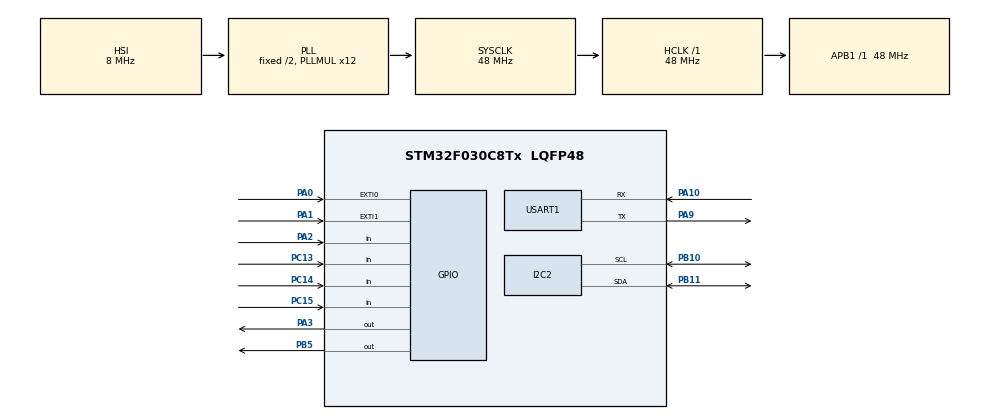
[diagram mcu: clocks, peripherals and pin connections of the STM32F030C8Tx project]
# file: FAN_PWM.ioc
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Dma.Request0=USART1_RX
Dma.Request1=USART1_TX
Dma.USART1_RX.0.Direction=DMA_PERIPH_TO_MEMORY
Dma.USART1_RX.0.Instance=DMA1_Channel3
Dma.USART1_RX.0.MemDataAlignment=DMA_MDATAALIGN_BYTE
Dma.USART1_RX.0.MemInc=DMA_MINC_ENABLE
Dma.USART1_RX.0.Mode=DMA_NORMAL
Dma.USART1_RX.0.PeriphDataAlignment=DMA_PDATAALIGN_BYTE
Dma.USART1_RX.0.PeriphInc=DMA_PINC_DISABLE
Dma.USART1_RX.0.Priority=DMA_PRIORITY_LOW
Dma.USART1_TX.1.Direction=DMA_MEMORY_TO_PERIPH
Dma.USART1_TX.1.Instance=DMA1_Channel2
Dma.USART1_TX.1.MemDataAlignment=DMA_MDATAALIGN_BYTE
Dma.USART1_TX.1.MemInc=DMA_MINC_ENABLE
Dma.USART1_TX.1.Mode=DMA_NORMAL
Dma.USART1_TX.1.PeriphDataAlignment=DMA_PDATAALIGN_BYTE
Dma.USART1_TX.1.PeriphInc=DMA_PINC_DISABLE
Dma.USART1_TX.1.Priority=DMA_PRIORITY_LOW
I2C2.Timing=0x20303E5D
Mcu.Family=STM32F0
Mcu.Name=STM32F030C8Tx
Mcu.Package=LQFP48
NVIC.DMA1_Channel2_3_IRQn=true\:0\:0\:false\:false\:true\:false\:true\:true
NVIC.EXTI0_1_IRQn=true\:0\:0\:false\:false\:true\:true\:true\:true
NVIC.TIM14_IRQn=true\:0\:0\:false\:false\:true\:true\:true\:true
NVIC.TIM6_IRQn=true\:0\:0\:false\:false\:true\:true\:true\:true
NVIC.USART1_IRQn=true\:0\:0\:false\:false\:true\:true\:true\:true
PA0.GPIO_ModeDefaultEXTI=GPIO_MODE_IT_FALLING
PA0.Signal=GPXTI0
PA1.GPIO_ModeDefaultEXTI=GPIO_MODE_IT_FALLING
PA1.Signal=GPXTI1
PA10.Mode=Asynchronous
PA10.Signal=USART1_RX
PA13.Mode=Serial_Wire
PA13.Signal=SYS_SWDIO
PA14.Mode=Serial_Wire
PA14.Signal=SYS_SWCLK
PA2.GPIO_PuPd=GPIO_PULLUP
PA2.Signal=GPIO_Input
PA3.GPIO_ModeDefaultOutputPP=GPIO_MODE_OUTPUT_PP
PA3.GPIO_PuPd=GPIO_NOPULL
PA3.GPIO_Speed=GPIO_SPEED_FREQ_HIGH
PA3.Signal=GPIO_Output
PA9.Mode=Asynchronous
PA9.Signal=USART1_TX
PB10.Mode=I2C
PB10.Signal=I2C2_SCL
PB11.Mode=I2C
PB11.Signal=I2C2_SDA
PB5.GPIO_ModeDefaultOutputPP=GPIO_MODE_OUTPUT_PP
PB5.GPIO_PuPd=GPIO_NOPULL
PB5.GPIO_Speed=GPIO_SPEED_FREQ_HIGH
PB5.Signal=GPIO_Output
PC13.GPIO_PuPd=GPIO_PULLUP
PC13.Signal=GPIO_Input
PC14-OSC32_IN.GPIO_PuPd=GPIO_PULLUP
PC14-OSC32_IN.Signal=GPIO_Input
PC15-OSC32_OUT.GPIO_PuPd=GPIO_PULLUP
PC15-OSC32_OUT.Signal=GPIO_Input
ProjectManager.HeapSize=0x200
ProjectManager.StackSize=0x400
ProjectManager.TargetToolchain=MDK-ARM V5.32
RCC.AHBFreq_Value=48000000
RCC.APB1Freq_Value=48000000
RCC.APB1TimFreq_Value=48000000
RCC.HCLKFreq_Value=48000000
RCC.PLLMUL=RCC_PLL_MUL12
RCC.SYSCLKFreq_VALUE=48000000
RCC.SYSCLKSource=RCC_SYSCLKSOURCE_PLLCLK
TIM14.AutoReloadPreload=TIM_AUTORELOAD_PRELOAD_ENABLE
TIM14.Period=1000
TIM14.Prescaler=48
TIM6.AutoReloadPreload=TIM_AUTORELOAD_PRELOAD_ENABLE
TIM6.Period=10
TIM6.Prescaler=48
USART1.VirtualMode-Asynchronous=VM_ASYNC
VP_TIM14_VS_ClockSourceINT.Mode=Enable_Timer
VP_TIM6_VS_ClockSourceINT.Mode=Enable_Timer
board=custom

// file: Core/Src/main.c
/* USER CODE BEGIN Header */
/**
  ******************************************************************************
  * @file           : main.c
  * @brief          : Main program body
  ******************************************************************************
  * @attention
  *
  * Copyright (c) 2023 STMicroelectronics.
  * All rights reserved.
  *
  * This software is licensed under terms that can be found in the LICENSE file
  * in the root directory of this software component.
  * If no LICENSE file comes with this software, it is provided AS-IS.
  *
  ******************************************************************************
  */
/* USER CODE END Header */
#include "main.h"

/* USER CODE BEGIN Includes */
#include "CH455.h"
#include "printf.h"
/* USER CODE END Includes */

I2C_HandleTypeDef hi2c2;

TIM_HandleTypeDef htim6;
TIM_HandleTypeDef htim14;

UART_HandleTypeDef huart1;
DMA_HandleTypeDef hdma_usart1_rx;
DMA_HandleTypeDef hdma_usart1_tx;

/* USER CODE BEGIN PV */
__IO uint16_t RPM5V, RPM12V, RPM5V_tmp, RPM12V_tmp;
__IO uint16_t PWM_12V_value = (PWM_MAX / 2);
__IO uint16_t PWM_5V_value = (PWM_MAX / 2);
__IO uint16_t PWM_counter = 0;
__IO uint16_t TMR14_counter;
__IO uint16_t RPM5V_cnt,RPM12V_cnt;
__IO uint8_t showPWM_delay, showPWM_flag, FAN_select = 0;
uint8_t show_state = 0;
/* USER CODE END PV */

void SystemClock_Config(void);
static void MX_GPIO_Init(void);
static void MX_DMA_Init(void);
static void MX_I2C2_Init(void);
static void MX_USART1_UART_Init(void);
static void MX_TIM14_Init(void);
static void MX_TIM6_Init(void);

int main(void)
{

  /* MCU Configuration--------------------------------------------------------*/

  /* Reset of all peripherals, Initializes the Flash interface and the Systick. */
  HAL_Init();

  /* Configure the system clock */
  SystemClock_Config();

  /* Initialize all configured peripherals */
  MX_GPIO_Init();
  MX_DMA_Init();
  MX_I2C2_Init();
  MX_USART1_UART_Init();
  MX_TIM14_Init();
  MX_TIM6_Init();
  /* USER CODE BEGIN 2 */
  HAL_Delay(1000);
  CH455_init();
  PWM_12V_CLR;
  PWM_12V_CLR;

  /* USER CODE END 2 */

  /* Infinite loop */
  /* USER CODE BEGIN WHILE */
  while (1)
  {
    if (RPM5V_tmp == 0)
    {
      RPM5V = 0;
    }
    else
    {
      RPM5V = 30000 / RPM5V_tmp;
    }
    if (RPM12V_tmp == 0)
    {
      RPM12V = 0;
    }
    else
    {
      RPM12V = 30000 / RPM12V_tmp;
    }

    if ((TMR14_counter % 100) == 0)
    {
      if (showPWM_flag)
      {
        showPWM_delay++;
      }

      switch (show_state)
      {
      case 0:
        if (FAN_select == 0)
        {
          CH455_send_all_number(RPM5V);
        }
        else
        {
          CH455_send_all_number(RPM12V);
        }
        break;
      case 1:
        if (FAN_select == 0)
        {
          CH455_send_all_number(PWM_5V_value);
        }
        else
        {
          CH455_send_all_number(PWM_12V_value);
        }
        if (showPWM_delay > 30)
        {
          showPWM_delay = 0;
          showPWM_flag = 0;
          show_state = 0;
        }
        break;
      default:
        show_state = 0;
        break;
      }
    }

    if ((TMR14_counter % 200) == 0)
    {
      if (HAL_GPIO_ReadPin(GPIOC, GPIO_PIN_14) == 0)
      {
        showPWM_flag = 1;
        showPWM_delay = 0;
        show_state = 1;
        if (FAN_select == 0)
        {
          if (PWM_5V_value <= (PWM_MAX - PWM_STEP))
          {
            PWM_5V_value++;
          }
          CH455_send_all_number(PWM_5V_value);
        }
        else
        {
          if (PWM_12V_value <= (PWM_MAX - PWM_STEP))
          {
            PWM_12V_value++;
          }
          CH455_send_all_number(PWM_12V_value);
        }
      }

      if (HAL_GPIO_ReadPin(GPIOC, GPIO_PIN_15) == 0)
      {
        showPWM_flag = 1;
        showPWM_delay = 0;
        show_state = 1;
        if (FAN_select == 0)
        {
          if (PWM_5V_value >= (PWM_STEP))
          {
            PWM_5V_value--;
          }
          CH455_send_all_number(PWM_5V_value);
        }
        else
        {
          if (PWM_12V_value >= (PWM_STEP))
          {
            PWM_12V_value--;
          }
          CH455_send_all_number(PWM_12V_value);
        }
      }
    }

    if(HAL_GPIO_ReadPin(GPIOA,GPIO_PIN_2)==0)
    {
      FAN_select = 0;
    }

    if(HAL_GPIO_ReadPin(GPIOC,GPIO_PIN_13)==0)
    {
      FAN_select = 1;
    }
    /* USER CODE END WHILE */

  }
}

void SystemClock_Config(void)
{
  RCC_OscInitTypeDef RCC_OscInitStruct = {0};
  RCC_ClkInitTypeDef RCC_ClkInitStruct = {0};
  RCC_PeriphCLKInitTypeDef PeriphClkInit = {0};

  /** Initializes the RCC Oscillators according to the specified parameters
  * in the RCC_OscInitTypeDef structure.
  */
  RCC_OscInitStruct.OscillatorType = RCC_OSCILLATORTYPE_HSI;
  RCC_OscInitStruct.HSIState = RCC_HSI_ON;
  RCC_OscInitStruct.HSICalibrationValue = RCC_HSICALIBRATION_DEFAULT;
  RCC_OscInitStruct.PLL.PLLState = RCC_PLL_ON;
  RCC_OscInitStruct.PLL.PLLSource = RCC_PLLSOURCE_HSI;
  RCC_OscInitStruct.PLL.PLLMUL = RCC_PLL_MUL12;
  RCC_OscInitStruct.PLL.PREDIV = RCC_PREDIV_DIV1;
  if (HAL_RCC_OscConfig(&RCC_OscInitStruct) != HAL_OK)
  {
    Error_Handler();
  }

  /** Initializes the CPU, AHB and APB buses clocks
  */
  RCC_ClkInitStruct.ClockType = RCC_CLOCKTYPE_HCLK|RCC_CLOCKTYPE_SYSCLK
                              |RCC_CLOCKTYPE_PCLK1;
  RCC_ClkInitStruct.SYSCLKSource = RCC_SYSCLKSOURCE_PLLCLK;
  RCC_ClkInitStruct.AHBCLKDivider = RCC_SYSCLK_DIV1;
  RCC_ClkInitStruct.APB1CLKDivider = RCC_HCLK_DIV1;

  if (HAL_RCC_ClockConfig(&RCC_ClkInitStruct, FLASH_LATENCY_1) != HAL_OK)
  {
    Error_Handler();
  }
  PeriphClkInit.PeriphClockSelection = RCC_PERIPHCLK_USART1;
  PeriphClkInit.Usart1ClockSelection = RCC_USART1CLKSOURCE_PCLK1;
  if (HAL_RCCEx_PeriphCLKConfig(&PeriphClkInit) != HAL_OK)
  {
    Error_Handler();
  }
}

static void MX_I2C2_Init(void)
{

  hi2c2.Instance = I2C2;
  hi2c2.Init.Timing = 0x20303E5D;
  hi2c2.Init.OwnAddress1 = 0;
  hi2c2.Init.AddressingMode = I2C_ADDRESSINGMODE_7BIT;
  hi2c2.Init.DualAddressMode = I2C_DUALADDRESS_DISABLE;
  hi2c2.Init.OwnAddress2 = 0;
  hi2c2.Init.OwnAddress2Masks = I2C_OA2_NOMASK;
  hi2c2.Init.GeneralCallMode = I2C_GENERALCALL_DISABLE;
  hi2c2.Init.NoStretchMode = I2C_NOSTRETCH_DISABLE;
  if (HAL_I2C_Init(&hi2c2) != HAL_OK)
  {
    Error_Handler();
  }

  /** Configure Analogue filter
  */
  if (HAL_I2CEx_ConfigAnalogFilter(&hi2c2, I2C_ANALOGFILTER_ENABLE) != HAL_OK)
  {
    Error_Handler();
  }

  /** Configure Digital filter
  */
  if (HAL_I2CEx_ConfigDigitalFilter(&hi2c2, 0) != HAL_OK)
  {
    Error_Handler();
  }

}

static void MX_TIM6_Init(void)
{

  htim6.Instance = TIM6;
  htim6.Init.Prescaler = 48;
  htim6.Init.CounterMode = TIM_COUNTERMODE_UP;
  htim6.Init.Period = 10;
  htim6.Init.AutoReloadPreload = TIM_AUTORELOAD_PRELOAD_ENABLE;
  if (HAL_TIM_Base_Init(&htim6) != HAL_OK)
  {
    Error_Handler();
  }
  /* USER CODE BEGIN TIM6_Init 2 */
  __HAL_TIM_ENABLE_IT(&htim6, TIM_IT_UPDATE);
  __HAL_TIM_ENABLE(&htim6);
  /* USER CODE END TIM6_Init 2 */

}

static void MX_TIM14_Init(void)
{

  htim14.Instance = TIM14;
  htim14.Init.Prescaler = 48;
  htim14.Init.CounterMode = TIM_COUNTERMODE_UP;
  htim14.Init.Period = 1000;
  htim14.Init.ClockDivision = TIM_CLOCKDIVISION_DIV1;
  htim14.Init.AutoReloadPreload = TIM_AUTORELOAD_PRELOAD_ENABLE;
  if (HAL_TIM_Base_Init(&htim14) != HAL_OK)
  {
    Error_Handler();
  }
  /* USER CODE BEGIN TIM14_Init 2 */
  __HAL_TIM_ENABLE_IT(&htim14, TIM_IT_UPDATE);
  __HAL_TIM_ENABLE(&htim14);
  /* USER CODE END TIM14_Init 2 */

}

static void MX_USART1_UART_Init(void)
{

  huart1.Instance = USART1;
  huart1.Init.BaudRate = 38400;
  huart1.Init.WordLength = UART_WORDLENGTH_8B;
  huart1.Init.StopBits = UART_STOPBITS_1;
  huart1.Init.Parity = UART_PARITY_NONE;
  huart1.Init.Mode = UART_MODE_TX_RX;
  huart1.Init.HwFlowCtl = UART_HWCONTROL_NONE;
  huart1.Init.OverSampling = UART_OVERSAMPLING_16;
  huart1.Init.OneBitSampling = UART_ONE_BIT_SAMPLE_DISABLE;
  huart1.AdvancedInit.AdvFeatureInit = UART_ADVFEATURE_NO_INIT;
  if (HAL_UART_Init(&huart1) != HAL_OK)
  {
    Error_Handler();
  }

}

static void MX_DMA_Init(void)
{

  /* DMA controller clock enable */
  __HAL_RCC_DMA1_CLK_ENABLE();

  /* DMA interrupt init */
  /* DMA1_Channel2_3_IRQn interrupt configuration */
  HAL_NVIC_SetPriority(DMA1_Channel2_3_IRQn, 0, 0);
  HAL_NVIC_EnableIRQ(DMA1_Channel2_3_IRQn);

}

static void MX_GPIO_Init(void)
{
  GPIO_InitTypeDef GPIO_InitStruct = {0};

  /* GPIO Ports Clock Enable */
  __HAL_RCC_GPIOC_CLK_ENABLE();
  __HAL_RCC_GPIOF_CLK_ENABLE();
  __HAL_RCC_GPIOA_CLK_ENABLE();
  __HAL_RCC_GPIOB_CLK_ENABLE();

  /*Configure GPIO pin Output Level */
  HAL_GPIO_WritePin(GPIOA, GPIO_PIN_3, GPIO_PIN_RESET);

  /*Configure GPIO pin Output Level */
  HAL_GPIO_WritePin(GPIOB, GPIO_PIN_5, GPIO_PIN_RESET);

  /*Configure GPIO pins : PC13 PC14 PC15 */
  GPIO_InitStruct.Pin = GPIO_PIN_13|GPIO_PIN_14|GPIO_PIN_15;
  GPIO_InitStruct.Mode = GPIO_MODE_INPUT;
  GPIO_InitStruct.Pull = GPIO_PULLUP;
  HAL_GPIO_Init(GPIOC, &GPIO_InitStruct);

  /*Configure GPIO pins : PF0 PF1 PF6 PF7 */
  GPIO_InitStruct.Pin = GPIO_PIN_0|GPIO_PIN_1|GPIO_PIN_6|GPIO_PIN_7;
  GPIO_InitStruct.Mode = GPIO_MODE_ANALOG;
  GPIO_InitStruct.Pull = GPIO_NOPULL;
  HAL_GPIO_Init(GPIOF, &GPIO_InitStruct);

  /*Configure GPIO pins : PA0 PA1 */
  GPIO_InitStruct.Pin = GPIO_PIN_0|GPIO_PIN_1;
  GPIO_InitStruct.Mode = GPIO_MODE_IT_FALLING;
  GPIO_InitStruct.Pull = GPIO_NOPULL;
  HAL_GPIO_Init(GPIOA, &GPIO_InitStruct);

  /*Configure GPIO pin : PA2 */
  GPIO_InitStruct.Pin = GPIO_PIN_2;
  GPIO_InitStruct.Mode = GPIO_MODE_INPUT;
  GPIO_InitStruct.Pull = GPIO_PULLUP;
  HAL_GPIO_Init(GPIOA, &GPIO_InitStruct);

  /*Configure GPIO pin : PA3 */
  GPIO_InitStruct.Pin = GPIO_PIN_3;
  GPIO_InitStruct.Mode = GPIO_MODE_OUTPUT_PP;
  GPIO_InitStruct.Pull = GPIO_NOPULL;
  GPIO_InitStruct.Speed = GPIO_SPEED_FREQ_HIGH;
  HAL_GPIO_Init(GPIOA, &GPIO_InitStruct);

  /*Configure GPIO pins : PA4 PA5 PA6 PA7
                           PA8 PA11 PA12 PA15 */
  GPIO_InitStruct.Pin = GPIO_PIN_4|GPIO_PIN_5|GPIO_PIN_6|GPIO_PIN_7
                          |GPIO_PIN_8|GPIO_PIN_11|GPIO_PIN_12|GPIO_PIN_15;
  GPIO_InitStruct.Mode = GPIO_MODE_ANALOG;
  GPIO_InitStruct.Pull = GPIO_NOPULL;
  HAL_GPIO_Init(GPIOA, &GPIO_InitStruct);

  /*Configure GPIO pins : PB0 PB1 PB2 PB12
                           PB13 PB14 PB15 PB3
                           PB4 PB6 PB7 PB8
                           PB9 */
  GPIO_InitStruct.Pin = GPIO_PIN_0|GPIO_PIN_1|GPIO_PIN_2|GPIO_PIN_12
                          |GPIO_PIN_13|GPIO_PIN_14|GPIO_PIN_15|GPIO_PIN_3
                          |GPIO_PIN_4|GPIO_PIN_6|GPIO_PIN_7|GPIO_PIN_8
                          |GPIO_PIN_9;
  GPIO_InitStruct.Mode = GPIO_MODE_ANALOG;
  GPIO_InitStruct.Pull = GPIO_NOPULL;
  HAL_GPIO_Init(GPIOB, &GPIO_InitStruct);

  /*Configure GPIO pin : PB5 */
  GPIO_InitStruct.Pin = GPIO_PIN_5;
  GPIO_InitStruct.Mode = GPIO_MODE_OUTPUT_PP;
  GPIO_InitStruct.Pull = GPIO_NOPULL;
  GPIO_InitStruct.Speed = GPIO_SPEED_FREQ_HIGH;
  HAL_GPIO_Init(GPIOB, &GPIO_InitStruct);

  /* EXTI interrupt init*/
  HAL_NVIC_SetPriority(EXTI0_1_IRQn, 0, 0);
  HAL_NVIC_EnableIRQ(EXTI0_1_IRQn);

}

void Error_Handler(void)
{
  __disable_irq();
  while (1)
  {
  }
}
